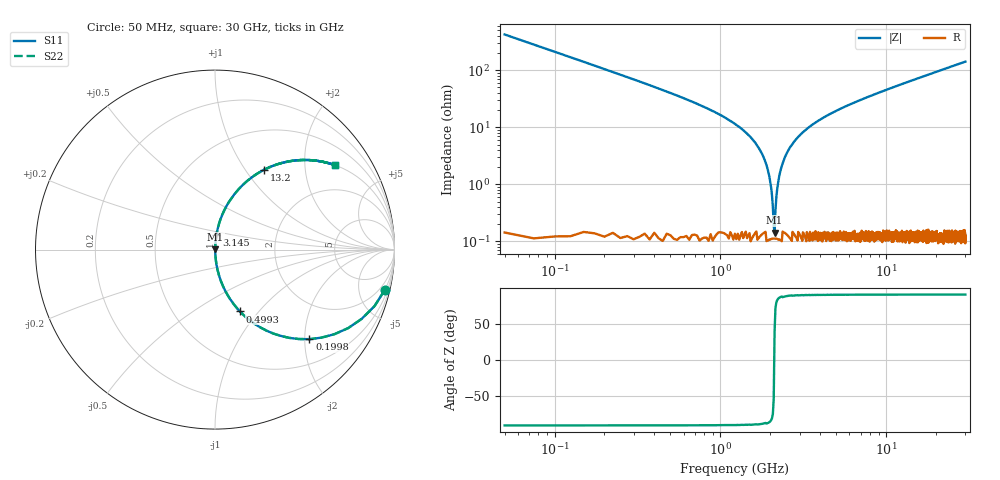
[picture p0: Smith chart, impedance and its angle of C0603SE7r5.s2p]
!	AVX Thin Film Operation 	Date: April 2014
!	Description: Accu-P® Series, Thin Film  SMD RF Capacitor
!	Part Number: 06035J7R5BBSTR
# MHZ S MA R 50
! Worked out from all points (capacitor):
!   1201 points, 50 MHz to 30 GHz, reference 50 ohm
!   read as one part in series: C = 7.5 pF near 199.8 MHz
!   lowest |Z| = 143 mohm at 2.122 GHz (marker M1)
!   series resonance near 2.112 GHz, so ESL is about 760 pH
!   S11 on the Smith chart (normalised r, x): 50 MHz: 1.01, -8.48; 199.8 MHz: 1.00, -2.11; 499.2 MHz: 1.00, -0.80; 3.145 GHz: 1.00, +0.16; 13.2 GHz: 1.00, +1.22; 30 GHz: 1.00, +2.84
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50  0.973 -13.3  0.229 76.7  0.229 76.7  0.973 -13.3
199.75  0.725 -43.5  0.688 46.4  0.688 46.4  0.725 -43.5
349.5  0.508 -59.3  0.86 30.5  0.86 30.5  0.508 -59.3
499.25  0.372 -68.0  0.927 21.8  0.927 21.8  0.372 -68.0
873.625  0.197 -78.3  0.979 11.4  0.979 11.4  0.197 -78.3
1647.333  0.05 -85.7  0.997 2.9  0.997 2.9  0.05 -85.7
1871.958  0.024 -85.7  0.998 1.4  0.998 1.4  0.024 -85.7
2021.708  0.008881 -81.4  0.999 0.5  0.999 0.5  0.008881 -81.4
2121.542  0.001529 35.2  0.999 -0.1  0.999 -0.1  0.001529 35.2
2221.375  0.01 82.4  0.999 -0.6  0.999 -0.6  0.01 82.4
2346.167  0.021 85.4  0.999 -1.2  0.999 -1.2  0.021 85.4
2495.917  0.034 85.9  0.998 -1.9  0.998 -1.9  0.034 85.9
2745.5  0.053 85.6  0.997 -3.0  0.997 -3.0  0.053 85.6
3144.833  0.082 84.4  0.995 -4.7  0.995 -4.7  0.082 84.4
3918.542  0.131 81.9  0.99 -7.5  0.99 -7.5  0.131 81.9
5041.667  0.194 78.5  0.98 -11.2  0.98 -11.2  0.194 78.5
10058.29  0.415 65.3  0.908 -24.5  0.908 -24.5  0.415 65.3
13203.04  0.521 58.5  0.852 -31.4  0.852 -31.4  0.521 58.5
15025  0.573 54.9  0.818 -35.0  0.818 -35.0  0.573 54.9
20016.67  0.685 46.7  0.728 -43.2  0.728 -43.2  0.685 46.7
25033.29  0.763 40.2  0.645 -49.7  0.645 -49.7  0.763 40.2
30000  0.817 35.1  0.576 -54.8  0.576 -54.8  0.817 35.1
